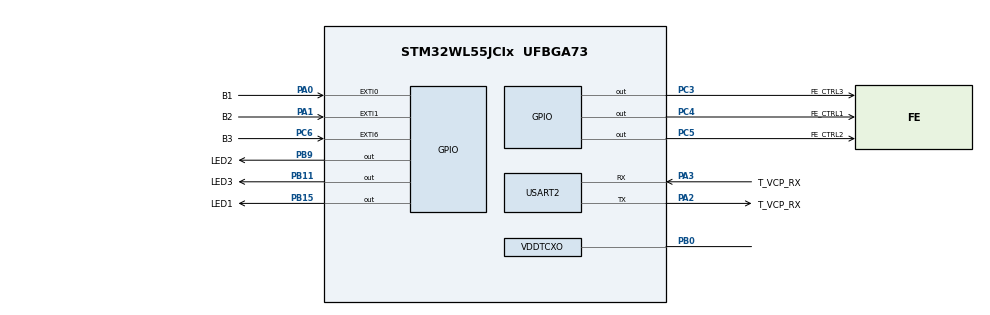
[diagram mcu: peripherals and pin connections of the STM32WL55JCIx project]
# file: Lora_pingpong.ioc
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AES.Algorithm=CRYP_AES_ECB
AES.DataType=CRYP_DATATYPE_1B
AES.DataWidthUnit=CRYP_DATAWIDTHUNIT_BYTE
AES.HeaderWidthUnit=CRYP_HEADERWIDTHUNIT_BYTE
AES.KeyIVConfigSkip=CRYP_KEYIVCONFIG_ALWAYS
AES.KeySize=CRYP_KEYSIZE_256B
AES.pKey=603DEB10 15CA71BE 2B73AEF0 857D7781 1F352C07 3B6108D7 2D9810A3 0914DFF4
Dma.Request0=USART2_RX
Dma.USART2_RX.0.Channel_PRIV_NPRIV=DMA_CHANNEL_NPRIV_DISABLE
Dma.USART2_RX.0.Direction=DMA_PERIPH_TO_MEMORY
Dma.USART2_RX.0.EventEnable=DISABLE
Dma.USART2_RX.0.Instance=DMA1_Channel1
Dma.USART2_RX.0.MemDataAlignment=DMA_MDATAALIGN_BYTE
Dma.USART2_RX.0.MemInc=DMA_MINC_ENABLE
Dma.USART2_RX.0.Mode=DMA_NORMAL
Dma.USART2_RX.0.PeriphDataAlignment=DMA_PDATAALIGN_BYTE
Dma.USART2_RX.0.PeriphInc=DMA_PINC_DISABLE
Dma.USART2_RX.0.Polarity=HAL_DMAMUX_REQ_GEN_RISING
Dma.USART2_RX.0.Priority=DMA_PRIORITY_LOW
Dma.USART2_RX.0.RequestNumber=1
Dma.USART2_RX.0.SignalID=NONE
Dma.USART2_RX.0.SyncEnable=DISABLE
Dma.USART2_RX.0.SyncPolarity=HAL_DMAMUX_SYNC_NO_EVENT
Dma.USART2_RX.0.SyncRequestNumber=1
Dma.USART2_RX.0.SyncSignalID=NONE
FREERTOS.Tasks01=LoraTask,0,512,StartLoraTask,Default,NULL,Dynamic,NULL,NULL;GPIOTask,2,1536,StartGPIOTask,Default,NULL,Dynamic,NULL,NULL
FREERTOS.configMINIMAL_STACK_SIZE=256
FREERTOS.configTOTAL_HEAP_SIZE=9000
FREERTOS.configUSE_NEWLIB_REENTRANT=1
Mcu.Family=STM32WL
Mcu.Name=STM32WL55JCIx
Mcu.Package=UFBGA73
NVIC.DMA1_Channel1_IRQn=true\:5\:0\:false\:false\:true\:true\:false\:true\:true
NVIC.EXTI0_IRQn=true\:5\:0\:false\:false\:true\:true\:true\:true\:true
NVIC.EXTI1_IRQn=true\:5\:0\:false\:false\:true\:true\:true\:true\:true
NVIC.EXTI9_5_IRQn=true\:5\:0\:false\:false\:true\:true\:true\:true\:true
NVIC.PriorityGroup=NVIC_PRIORITYGROUP_4
NVIC.SUBGHZ_Radio_IRQn=true\:5\:0\:false\:false\:true\:true\:true\:true\:true
NVIC.TIM17_IRQn=true\:15\:0\:false\:false\:true\:false\:false\:true\:true
NVIC.TimeBase=TIM17_IRQn
NVIC.TimeBaseIP=TIM17
NVIC.USART2_IRQn=true\:5\:0\:false\:false\:true\:true\:true\:true\:true
OSC_IN.Mode=HSE-TCXO
OSC_IN.Signal=RCC_OSC_IN
PA0.GPIO_Label=B1
PA0.GPIO_ModeDefaultEXTI=GPIO_MODE_IT_FALLING
PA0.GPIO_PuPd=GPIO_PULLUP
PA0.Signal=GPXTI0
PA1.GPIO_Label=B2
PA1.GPIO_ModeDefaultEXTI=GPIO_MODE_IT_FALLING
PA1.GPIO_PuPd=GPIO_PULLUP
PA1.Signal=GPXTI1
PA13.Mode=Serial_Wire
PA13.Signal=DEBUG_JTMS-SWDIO
PA14.Mode=Serial_Wire
PA14.Signal=DEBUG_JTCK-SWCLK
PA2.GPIO_Label=T_VCP_RX
PA2.Mode=Asynchronous
PA2.Signal=USART2_TX
PA3.GPIO_Label=T_VCP_RX
PA3.Mode=Asynchronous
PA3.Signal=USART2_RX
PB0-VDD_TCXO.Mode=HSE-TCXO
PB0-VDD_TCXO.Signal=VDDTCXO
PB11.GPIO_Label=LED3
PB11.GPIO_Speed=GPIO_SPEED_FREQ_HIGH
PB11.Signal=GPIO_Output
PB15.GPIO_Label=LED1
PB15.GPIO_Speed=GPIO_SPEED_FREQ_HIGH
PB15.Signal=GPIO_Output
PB9.GPIO_FM9=__NULL
PB9.GPIO_Label=LED2
PB9.GPIO_Speed=GPIO_SPEED_FREQ_HIGH
PB9.Signal=GPIO_Output
PC14-OSC32_IN.Mode=LSE-External-Oscillator
PC14-OSC32_IN.Signal=RCC_OSC32_IN
PC15-OSC32_OUT.Mode=LSE-External-Oscillator
PC15-OSC32_OUT.Signal=RCC_OSC32_OUT
PC3.GPIO_Label=FE_CTRL3
PC3.GPIO_Speed=GPIO_SPEED_FREQ_VERY_HIGH
PC3.Signal=GPIO_Output
PC4.GPIO_Label=FE_CTRL1
PC4.GPIO_Speed=GPIO_SPEED_FREQ_VERY_HIGH
PC4.Signal=GPIO_Output
PC5.GPIO_Label=FE_CTRL2
PC5.GPIO_Speed=GPIO_SPEED_FREQ_VERY_HIGH
PC5.Signal=GPIO_Output
PC6.GPIO_Label=B3
PC6.GPIO_ModeDefaultEXTI=GPIO_MODE_IT_FALLING
PC6.GPIO_PuPd=GPIO_PULLUP
PC6.Signal=GPXTI6
ProjectManager.HeapSize=0x200
ProjectManager.StackSize=0x400
ProjectManager.TargetToolchain=STM32CubeIDE
RCC.AHBFreq_Value=48000000
RCC.APB1Freq_Value=48000000
RCC.APB1TimFreq_Value=48000000
RCC.APB2Freq_Value=48000000
RCC.APB2TimFreq_Value=48000000
RCC.APB3Freq_Value=48000000
RCC.CortexFreq_Value=48000000
RCC.HCLKFreq_Value=48000000
RCC.HSE_VALUE=32000000
RCC.HSI_VALUE=16000000
RCC.LSE_VALUE=32768
RCC.MSIClockRange=RCC_MSIRANGE_11
RCC.SYSCLKFreq_VALUE=48000000
RCC.VCOOutputFreq_Value=384000000
SUBGHZ.BaudratePrescaler=SUBGHZSPI_BAUDRATEPRESCALER_4
USART2.VirtualMode-Asynchronous=VM_ASYNC
VP_AES_VS_AES.Mode=AES_Activate
VP_FREERTOS_VS_CMSIS_V1.Mode=CMSIS_V1
VP_SUBGHZ_VS_SUBGHZ.Mode=SUBGHZ_Activate
VP_SYS_VS_tim17.Mode=TIM17
board=NUCLEO-WL55JC2

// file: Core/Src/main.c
/* USER CODE BEGIN Header */
/**
  ******************************************************************************
  * @file           : main.c
  * @brief          : Main program body
  ******************************************************************************
  * @attention
  *
  * <h2><center>&copy; Copyright (c) 2021 STMicroelectronics.
  * All rights reserved.</center></h2>
  *
  * This software component is licensed by ST under BSD 3-Clause license,
  * the "License"; You may not use this file except in compliance with the
  * License. You may obtain a copy of the License at:
  *                        opensource.org/licenses/BSD-3-Clause
  *
  ******************************************************************************
  */
/* USER CODE END Header */
#include "main.h"
#include "cmsis_os.h"
#include "aes.h"
#include "dma.h"
#include "subghz.h"
#include "usart.h"
#include "gpio.h"

/* USER CODE BEGIN PM */

extern char uartBuff[1024];
extern volatile uint32_t RF_FREQUENCY;
extern pingPongFSM_t fsm;
extern uint8_t rxBuffer[RX_SIZE];
extern uint8_t size;

/* USER CODE END PM */

void SystemClock_Config(void);
void MX_FREERTOS_Init(void);

int main(void)
{
  /* USER CODE BEGIN 1 */

//  char uartBuff[100];

  /* USER CODE END 1 */

  /* MCU Configuration--------------------------------------------------------*/

  /* Reset of all peripherals, Initializes the Flash interface and the Systick. */
  HAL_Init();

  /* Configure the system clock */
  SystemClock_Config();

  /* Initialize all configured peripherals */
  MX_GPIO_Init();
  MX_DMA_Init();
  MX_USART2_UART_Init();
  MX_SUBGHZ_Init();
  MX_AES_Init();
  /* USER CODE BEGIN 2 */
  radioInit();
  fsmInit();
  UartDmaStart();

  /* USER CODE END 2 */

  /* Call init function for freertos objects (in freertos.c) */
  MX_FREERTOS_Init();

  /* Start scheduler */
  osKernelStart();

  /* We should never get here as control is now taken by the scheduler */
  /* Infinite loop */
  while (1)
  {

    /* USER CODE BEGIN 3 */
	 // SUBGHZ();

  }
  /* USER CODE END 3 */
}

void SystemClock_Config(void)
{
  RCC_OscInitTypeDef RCC_OscInitStruct = {0};
  RCC_ClkInitTypeDef RCC_ClkInitStruct = {0};

  /** Configure LSE Drive Capability
  */
  HAL_PWR_EnableBkUpAccess();
  __HAL_RCC_LSEDRIVE_CONFIG(RCC_LSEDRIVE_LOW);

  /** Configure the main internal regulator output voltage
  */
  __HAL_PWR_VOLTAGESCALING_CONFIG(PWR_REGULATOR_VOLTAGE_SCALE1);

  /** Initializes the CPU, AHB and APB buses clocks
  */
  RCC_OscInitStruct.OscillatorType = RCC_OSCILLATORTYPE_LSE|RCC_OSCILLATORTYPE_MSI;
  RCC_OscInitStruct.LSEState = RCC_LSE_ON;
  RCC_OscInitStruct.MSIState = RCC_MSI_ON;
  RCC_OscInitStruct.MSICalibrationValue = RCC_MSICALIBRATION_DEFAULT;
  RCC_OscInitStruct.MSIClockRange = RCC_MSIRANGE_11;
  RCC_OscInitStruct.PLL.PLLState = RCC_PLL_NONE;
  if (HAL_RCC_OscConfig(&RCC_OscInitStruct) != HAL_OK)
  {
    Error_Handler();
  }

  /** Configure the SYSCLKSource, HCLK, PCLK1 and PCLK2 clocks dividers
  */
  RCC_ClkInitStruct.ClockType = RCC_CLOCKTYPE_HCLK3|RCC_CLOCKTYPE_HCLK
                              |RCC_CLOCKTYPE_SYSCLK|RCC_CLOCKTYPE_PCLK1
                              |RCC_CLOCKTYPE_PCLK2;
  RCC_ClkInitStruct.SYSCLKSource = RCC_SYSCLKSOURCE_MSI;
  RCC_ClkInitStruct.AHBCLKDivider = RCC_SYSCLK_DIV1;
  RCC_ClkInitStruct.APB1CLKDivider = RCC_HCLK_DIV1;
  RCC_ClkInitStruct.APB2CLKDivider = RCC_HCLK_DIV1;
  RCC_ClkInitStruct.AHBCLK3Divider = RCC_SYSCLK_DIV1;

  if (HAL_RCC_ClockConfig(&RCC_ClkInitStruct, FLASH_LATENCY_2) != HAL_OK)
  {
    Error_Handler();
  }
}

/* USER CODE BEGIN 4 */

/**
  * @brief  Initialize the Sub-GHz radio and dependent hardware.
  * @retval None
  */

/**
  * @brief  Receive data trough SUBGHZSPI peripheral
  * @param  radioIrq  interrupt pending status information
  * @retval None
  */

void HAL_GPIO_EXTI_Callback(uint16_t GPIO_Pin)
{

  if(GPIO_Pin == GPIO_PIN_0)
  {
	  BSP_LED_Off(LED_GREEN);
	  BSP_LED_Off(LED_RED);
	  BSP_LED_Toggle(LED_BLUE);
	  RF_FREQUENCY = 470000000;

  }
  else if (GPIO_Pin == GPIO_PIN_1)
  {
	  BSP_LED_Off(LED_BLUE);
	  BSP_LED_Off(LED_RED);
	 // BSP_LED_Toggle(LED_GREEN);
	  RF_FREQUENCY = 433000000;

  }
  else if (GPIO_Pin == GPIO_PIN_6)

  {
	  BSP_LED_Off(LED_GREEN);
	  BSP_LED_Off(LED_BLUE);
	  BSP_LED_Toggle(LED_RED);
	  RF_FREQUENCY = 520000000;

  }

}

/* USER CODE END 4 */

void HAL_TIM_PeriodElapsedCallback(TIM_HandleTypeDef *htim)
{
  if (htim->Instance == TIM17) {
    HAL_IncTick();
  }
}

void Error_Handler(void)
{
  __disable_irq();
  while (1)
  {
  }
}

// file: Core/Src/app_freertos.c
/* USER CODE BEGIN Header */
/**
  ******************************************************************************
  * File Name          : app_freertos.c
  * Description        : Code for freertos applications
  ******************************************************************************
  * @attention
  *
  * Copyright (c) 2023 STMicroelectronics.
  * All rights reserved.
  *
  * This software is licensed under terms that can be found in the LICENSE file
  * in the root directory of this software component.
  * If no LICENSE file comes with this software, it is provided AS-IS.
  *
  ******************************************************************************
  */
/* USER CODE END Header */

#include "FreeRTOS.h"
#include "task.h"
#include "main.h"
#include "cmsis_os.h"

/* USER CODE BEGIN PM */
extern uint8_t rxBuffer[RX_SIZE];
extern uint8_t size;
/* USER CODE END PM */

osThreadId LoraTaskHandle;
osThreadId GPIOTaskHandle;

void StartLoraTask(void const * argument);
void StartGPIOTask(void const * argument);

void MX_FREERTOS_Init(void); /* (MISRA C 2004 rule 8.1) */

/* GetIdleTaskMemory prototype (linked to static allocation support) */
void vApplicationGetIdleTaskMemory( StaticTask_t **ppxIdleTaskTCBBuffer, StackType_t **ppxIdleTaskStackBuffer, uint32_t *pulIdleTaskStackSize );

/* USER CODE BEGIN GET_IDLE_TASK_MEMORY */
static StaticTask_t xIdleTaskTCBBuffer;
static StackType_t xIdleStack[configMINIMAL_STACK_SIZE];

void vApplicationGetIdleTaskMemory( StaticTask_t **ppxIdleTaskTCBBuffer, StackType_t **ppxIdleTaskStackBuffer, uint32_t *pulIdleTaskStackSize )
{
  *ppxIdleTaskTCBBuffer = &xIdleTaskTCBBuffer;
  *ppxIdleTaskStackBuffer = &xIdleStack[0];
  *pulIdleTaskStackSize = configMINIMAL_STACK_SIZE;
  /* place for user code */
}
/* USER CODE END GET_IDLE_TASK_MEMORY */

void MX_FREERTOS_Init(void) {

  /* Create the thread(s) */
  /* definition and creation of LoraTask */
  osThreadDef(LoraTask, StartLoraTask, osPriorityNormal, 0, 512);
  LoraTaskHandle = osThreadCreate(osThread(LoraTask), NULL);

  /* definition and creation of GPIOTask */
  osThreadDef(GPIOTask, StartGPIOTask, osPriorityHigh, 0, 1536);
  GPIOTaskHandle = osThreadCreate(osThread(GPIOTask), NULL);

}

void StartLoraTask(void const * argument)
{
  /* USER CODE BEGIN StartLoraTask */
  /* Infinite loop */
	//SUBGHZ();
	while (1)
	  {
		  SUBGHZ();
		  //osDelay(1000);
		//BSP_LED_Toggle(LED_BLUE);
		osDelay(100);
	  }
//  for(;;)
//  {
//	SUBGHZ();
//    osDelay(1000);
//  }
  /* USER CODE END StartLoraTask */
}

void StartGPIOTask(void const * argument)
{
  /* USER CODE BEGIN StartGPIOTask */
  /* Infinite loop */
	while (1)
		  {
			  //SUBGHZ();
			  //osDelay(1000);
			//printf("debug1\n");

		    AES_start();
		   // printf("debug2\n");
			BSP_LED_Toggle(LED_RED);
			osDelay(3000);
			//HAL_UART_Transmit(&huart2, rxBuffer, sizeof(rxBuffer), HAL_MAX_DELAY);
			//memset(rxBuffer,' ',sizeof(rxBuffer));
			//HAL_UART_Transmit(&huart2, (uint8_t *)"\r\n", 9, HAL_MAX_DELAY);
		  }
  /* USER CODE END StartGPIOTask */
}
